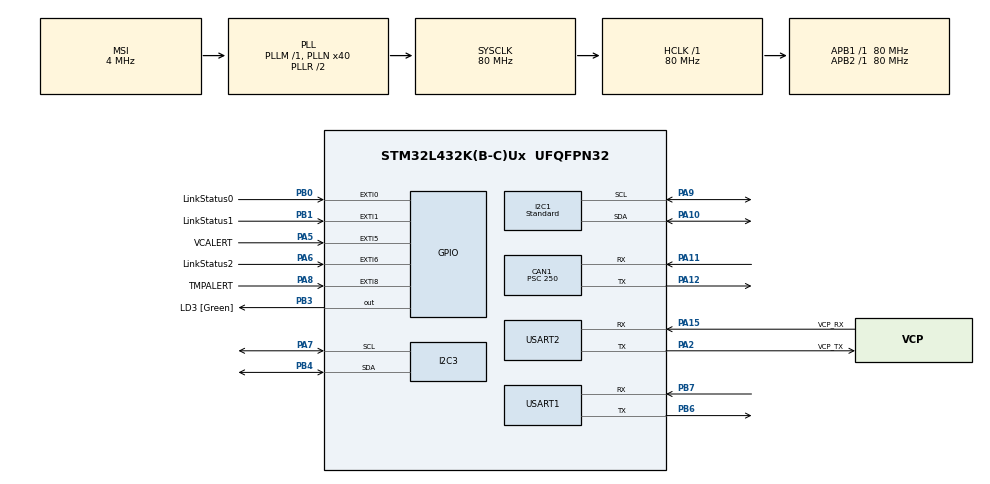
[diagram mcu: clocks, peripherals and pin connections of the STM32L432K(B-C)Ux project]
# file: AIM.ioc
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CAN1.BS1=CAN_BS1_13TQ
CAN1.BS2=CAN_BS2_2TQ
CAN1.CalculateBaudRate=20000
CAN1.CalculateTimeBit=50000
CAN1.CalculateTimeQuantum=3125.0
CAN1.Mode=CAN_MODE_NORMAL
CAN1.NART=ENABLE
CAN1.Prescaler=250
Dma.I2C1_RX.0.Direction=DMA_PERIPH_TO_MEMORY
Dma.I2C1_RX.0.Instance=DMA1_Channel7
Dma.I2C1_RX.0.MemDataAlignment=DMA_MDATAALIGN_BYTE
Dma.I2C1_RX.0.MemInc=DMA_MINC_ENABLE
Dma.I2C1_RX.0.Mode=DMA_NORMAL
Dma.I2C1_RX.0.PeriphDataAlignment=DMA_PDATAALIGN_BYTE
Dma.I2C1_RX.0.PeriphInc=DMA_PINC_DISABLE
Dma.I2C1_RX.0.Priority=DMA_PRIORITY_LOW
Dma.I2C1_TX.1.Direction=DMA_MEMORY_TO_PERIPH
Dma.I2C1_TX.1.Instance=DMA1_Channel6
Dma.I2C1_TX.1.MemDataAlignment=DMA_MDATAALIGN_BYTE
Dma.I2C1_TX.1.MemInc=DMA_MINC_ENABLE
Dma.I2C1_TX.1.Mode=DMA_NORMAL
Dma.I2C1_TX.1.PeriphDataAlignment=DMA_PDATAALIGN_BYTE
Dma.I2C1_TX.1.PeriphInc=DMA_PINC_DISABLE
Dma.I2C1_TX.1.Priority=DMA_PRIORITY_LOW
Dma.Request0=I2C1_RX
Dma.Request1=I2C1_TX
I2C1.I2C_Speed_Mode=I2C_Standard
I2C1.Timing=0x10D19CE4
I2C3.Timing=0x10D19CE4
Mcu.Family=STM32L4
Mcu.Name=STM32L432K(B-C)Ux
Mcu.Package=UFQFPN32
NVIC.CAN1_RX0_IRQn=true\:0\:0\:false\:false\:true\:true\:true\:true
NVIC.CAN1_RX1_IRQn=true\:0\:0\:false\:false\:true\:true\:true\:true
NVIC.CAN1_TX_IRQn=true\:0\:0\:false\:false\:true\:true\:true\:true
NVIC.DMA1_Channel6_IRQn=true\:0\:0\:false\:false\:true\:false\:true\:true
NVIC.DMA1_Channel7_IRQn=true\:0\:0\:false\:false\:true\:false\:true\:true
NVIC.EXTI0_IRQn=true\:0\:0\:false\:false\:true\:true\:true\:true
NVIC.EXTI1_IRQn=true\:0\:0\:false\:false\:true\:true\:true\:true
NVIC.EXTI9_5_IRQn=true\:0\:0\:false\:false\:true\:true\:true\:true
NVIC.I2C1_ER_IRQn=true\:0\:0\:false\:false\:true\:true\:true\:true
NVIC.I2C1_EV_IRQn=true\:0\:0\:false\:false\:true\:true\:true\:true
NVIC.PriorityGroup=NVIC_PRIORITYGROUP_4
NVIC.USART1_IRQn=true\:0\:0\:false\:false\:true\:true\:true\:true
PA0.GPIO_Label=MCO [High speed clock in]
PA0.Mode=HSE-External-Clock-Source-for-LittleOrca
PA0.Signal=RCC_CK_IN
PA10.GPIO_Pu=GPIO_PULLUP
PA10.Mode=I2C
PA10.Signal=I2C1_SDA
PA11.GPIO_PuPd=GPIO_PULLUP
PA11.Mode=CAN_Activate
PA11.Signal=CAN1_RX
PA12.GPIO_PuPd=GPIO_NOPULL
PA12.Mode=CAN_Activate
PA12.Signal=CAN1_TX
PA13\ (JTMS-SWDIO).GPIO_Label=SWDIO
PA13\ (JTMS-SWDIO).Mode=Serial_Wire
PA13\ (JTMS-SWDIO).Signal=SYS_JTMS-SWDIO
PA14\ (JTCK-SWCLK).GPIO_Label=SWCLK
PA14\ (JTCK-SWCLK).Mode=Serial_Wire
PA14\ (JTCK-SWCLK).Signal=SYS_JTCK-SWCLK
PA15\ (JTDI).GPIO_Label=VCP_RX
PA15\ (JTDI).Mode=Asynchronous
PA15\ (JTDI).Signal=USART2_RX
PA2.GPIO_Label=VCP_TX
PA2.Mode=Asynchronous
PA2.Signal=USART2_TX
PA5.GPIO_Label=VCALERT
PA5.Signal=GPXTI5
PA6.GPIO_Label=LinkStatus2
PA6.Signal=GPXTI6
PA7.GPIO_Pu=GPIO_PULLUP
PA7.Mode=I2C
PA7.Signal=I2C3_SCL
PA8.GPIO_Label=TMPALERT
PA8.GPIO_ModeDefaultEXTI=GPIO_MODE_IT_FALLING
PA8.GPIO_PuPd=GPIO_PULLUP
PA8.Signal=GPXTI8
PA9.GPIO_Pu=GPIO_PULLUP
PA9.Mode=I2C
PA9.Signal=I2C1_SCL
PB0.GPIO_Label=LinkStatus0
PB0.Signal=GPXTI0
PB1.GPIO_Label=LinkStatus1
PB1.GPIO_ModeDefaultEXTI=GPIO_MODE_IT_RISING_FALLING
PB1.GPIO_PuPd=GPIO_PULLDOWN
PB1.Signal=GPXTI1
PB3\ (JTDO-TRACESWO).GPIO_Label=LD3 [Green]
PB3\ (JTDO-TRACESWO).Signal=GPIO_Output
PB4\ (NJTRST).GPIO_Pu=GPIO_PULLUP
PB4\ (NJTRST).Mode=I2C
PB4\ (NJTRST).Signal=I2C3_SDA
PB6.Mode=Asynchronous
PB6.Signal=USART1_TX
PB7.Mode=Asynchronous
PB7.Signal=USART1_RX
PC14-OSC32_IN\ (PC14).Mode=LSE-External-Oscillator
PC14-OSC32_IN\ (PC14).Signal=RCC_OSC32_IN
PC15-OSC32_OUT\ (PC15).Mode=LSE-External-Oscillator
PC15-OSC32_OUT\ (PC15).Signal=RCC_OSC32_OUT
ProjectManager.HeapSize=0x200
ProjectManager.StackSize=0x400
ProjectManager.TargetToolchain=STM32CubeIDE
RCC.AHBFreq_Value=80000000
RCC.APB1Freq_Value=80000000
RCC.APB1TimFreq_Value=80000000
RCC.APB2Freq_Value=80000000
RCC.APB2TimFreq_Value=80000000
RCC.CortexFreq_Value=80000000
RCC.HCLKFreq_Value=80000000
RCC.HSE_VALUE=8000000
RCC.HSI16_VALUE=16000000
RCC.HSI48_VALUE=48000000
RCC.HSI_VALUE=16000000
RCC.MSI_VALUE=4000000
RCC.PLLMUL=RCC_PLLMUL_4
RCC.PLLN=40
RCC.SYSCLKFreq_VALUE=80000000
RCC.SYSCLKSource=RCC_SYSCLKSOURCE_PLLCLK
RCC.VCOOutputFreq_Value=160000000
USART1.VirtualMode-Asynchronous=VM_ASYNC
USART2.VirtualMode-Asynchronous=VM_ASYNC
board=NUCLEO-L432KC

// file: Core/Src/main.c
/* USER CODE BEGIN Header */
/**
  ******************************************************************************
  * @file           : main.c
  * @brief          : Main program body
  ******************************************************************************
  * @attention
  *
  * Copyright (c) 2025 STMicroelectronics.
  * All rights reserved.
  *
  * This software is licensed under terms that can be found in the LICENSE file
  * in the root directory of this software component.
  * If no LICENSE file comes with this software, it is provided AS-IS.
  *
  ******************************************************************************
  */
/* USER CODE END Header */
#include "main.h"

/* USER CODE BEGIN Includes */
#include <stdio.h>
#include <math.h>
#include "can.h"
#include "tmp117.h"
#include "ds1682.h"
#include "INA238.h"
#include "linkdetect.h"

/* USER CODE END Includes */

/* USER CODE BEGIN PD */

#define VERSION 01
#define BUILDDATE __DATE__
#define SERIALNR 1337
#define BOARD 1
#define LINK0_TIMEOUT_MS 500
#define LINK1_TIMEOUT_MS 500
#define LINK2_TIMEOUT_MS 3000

/* USER CODE END PD */

CAN_HandleTypeDef hcan1;

I2C_HandleTypeDef hi2c1;
I2C_HandleTypeDef hi2c3;
DMA_HandleTypeDef hdma_i2c1_rx;
DMA_HandleTypeDef hdma_i2c1_tx;

UART_HandleTypeDef huart1;
UART_HandleTypeDef huart2;

void SystemClock_Config(void);
static void MX_GPIO_Init(void);
static void MX_DMA_Init(void);
static void MX_USART2_UART_Init(void);
static void MX_CAN1_Init(void);
static void MX_I2C1_Init(void);
static void MX_I2C3_Init(void);
static void MX_USART1_UART_Init(void);
/* USER CODE BEGIN PFP */
void UART_MSG(void);
/* USER CODE END PFP */

/* USER CODE BEGIN 0 */
uint8_t RX_Buffer_I2C[1]; //I2C RX variable
uint8_t rx_buff_UART[10];
char buf[64];
uint8_t TempReady 		= 0;
uint8_t TmpAlertFlag 	= 0;
uint8_t InaAlertFlag 	= 0;

uint32_t pulseStart = 0;
uint32_t pulseWidth = 0;

/* Settings:--------------------------------------*/
static float AlarmLimitHighSetPoint 	= 25.0f;    //nog fixen
static float AlarmLimitLowSetPoint 		= 24.0f;

static State_t state = STATE_INIT;
static uint32_t lastTick = 0;
static uint16_t rawTemp;
static uint32_t elapsedTime;
static uint16_t rawCurrent;
static uint16_t rawVoltage;

/*************************************************************************/
/* RX gedeelte  */
/*************************************************************************/

// Ontvangst interupt voor CAN-bus berichten (gebruikt voor debug).
void HAL_CAN_RxFifo0MsgPendingCallback(CAN_HandleTypeDef *hcan)
{
    CAN_Msg_t msg;

    // 1. Haal de CAN-header en de bijbehorende data (max 8 bytes) op uit FIFO0
    //    Dit wordt aangeroepen zodra een bericht binnenkomt in FIFO0 (interrupt-driven)
    HAL_CAN_GetRxMessage(hcan, CAN_RX_FIFO0, &msg.header, msg.data);

    // 2. Plaats het bericht in de software-queue (bijv. ringbuffer of wachtrij)
    //    EnqueueCAN retourneert meestal niets, dus als de queue vol is wordt het bericht genegeerd
    EnqueueCAN(&msg.header, msg.data);
}

/**
 * @brief GPIO External Interrupt Callback.
 *
 * Deze functie handelt EXTI-interrupts af van meerdere GPIO-pinnen:
 * - LinkStatus1_Pin: Detecteert verbindingsproblemen via een puls.
 * - TMPALERT_Pin: Waarschuwt wanneer TMP117 temperatuur buiten limieten meet.
 * - VCALERT_Pin: Signaleert spannings- of stroomfouten via INA238.
 *
 * Bij een langdurige hoog-signaal op LinkStatus1 (> LINK_HIGH_TIMEOUT_MS) wordt een foutmelding gegenereerd.
 * Als de activiteit herstelt (puls korter dan timeout), wordt de fout automatisch gecleared.
 *
 * @param GPIO_Pin De GPIO-pin waarvoor de interrupt plaatsvond.
 */
void HAL_GPIO_EXTI_Callback(uint16_t GPIO_Pin){
	if (GPIO_Pin == LinkStatus0_Pin){
		GPIO_PinState state_int_link0 = HAL_GPIO_ReadPin(LinkStatus0_GPIO_Port, LinkStatus0_Pin);

	    if (state_int_link0 == GPIO_PIN_SET){
	            // Start van hoog-signaal detecteren
	            Link0HighTimestamp = HAL_GetTick();
	    }
	    else{
	            // Puls is weer laag → reset fout als het een korte puls was
	    	if (Link0ErrorFlag){
	            Link0ErrorFlag = 0;
	            Link_Recovered(LINK_STATUS0);
	     	 }
	     }
        // LED-blink bij ontvangen puls
        //HAL_GPIO_WritePin(LD3_GPIO_Port, LD3_Pin,state_int_link0); //Debug
    }
	else if (GPIO_Pin == LinkStatus1_Pin){
			GPIO_PinState state_int_link1 = HAL_GPIO_ReadPin(LinkStatus1_GPIO_Port, LinkStatus1_Pin);

		    if (state_int_link1 == GPIO_PIN_SET){
		            // Start van hoog-signaal detecteren
		            Link1HighTimestamp = HAL_GetTick();
		    }
		    else{
		            // Puls is weer laag → reset fout als het een korte puls was
		    	if (Link1ErrorFlag){
		            Link1ErrorFlag = 0;
		            Link_Recovered(LINK_STATUS0);
		     	 }
		     }
	        //HAL_GPIO_WritePin(LD3_GPIO_Port, LD3_Pin,state_int_link1); //Debug
	}
	else if (GPIO_Pin == LinkStatus2_Pin){
			GPIO_PinState state_int_link2 = HAL_GPIO_ReadPin(LinkStatus2_GPIO_Port, LinkStatus2_Pin);

		    if (state_int_link2 == GPIO_PIN_SET){
		            // Start van hoog-signaal detecteren
		            Link2HighTimestamp = HAL_GetTick();
		    }
		    else{
		            // Puls is weer laag → reset fout als het een korte puls was
		    	if (Link2ErrorFlag){
		            Link2ErrorFlag = 0;
		            Link_Recovered(LINK_STATUS0);
		     	 }
		     }
	        // LED-blink bij ontvangen puls
	        //HAL_GPIO_WritePin(LD3_GPIO_Port, LD3_Pin,state_int_link2); //Debug
	    }
    else if (GPIO_Pin == TMPALERT_Pin)  //Temperatuur alarm
    {
        state = STATE_ERROR;
    	TmpAlertFlag = 1;
    }
    else if (GPIO_Pin == VCALERT_Pin)  //Spanning/stroom alarm
    {
        state = STATE_ERROR;
    	InaAlertFlag = 1;
    }
    else
    {
        __NOP();
    }
}

void HAL_UART_RxCpltCallback(UART_HandleTypeDef *huart)
{
	HAL_UART_Receive_IT(&huart1, rx_buff_UART, 8);
}

/**
 * @brief Converteert een spanningswaarde naar een 16-bit registerwaarde op basis van opgegeven LSB.
 *
 * Deze functie rekent een spanning (of stroom) in volt om naar een digitale waarde
 * zoals verwacht door registers van de INA238 (of vergelijkbare IC's).
 * De LSB bepaalt de resolutie: hoeveel volt één bit voorstelt.
 *
 * @param voltage   De gewenste waarde in volt (bijv. 16.0 voor 16V of 0.5 voor 0.5A).
 * @param lsb       De resolutie in volt per bit (bijv. 0.003125 voor spanning, 0.0005 voor stroom).
 *
 * @return uint16_t De afgeronde digitale waarde die past bij het registerformaat van 16 bits.
 */
uint16_t ConvertVoltageToRaw(float voltage, float lsb)
{
    return (uint16_t)lroundf(voltage / lsb);
}

// init van de AIM bij eerste opstart MCU

void AIM_INIT(void)
{
	//Start bericht
	TMP117_Init(TMP117_I2C_ADDR,0x0630 ,25.0f, 24.0f);
	HAL_Delay(50);
	INA238_Init(INA238_I2C_ADDR, 0x4096,INA238_ALERT_ALL_WITH_ENABLE, 0.16384, 0.001, 3.4, 0.16384);
	HAL_Delay(50);

	TMP117_Display_Register(TMP117_I2C_ADDR, TMP117_REG_CONFIG);
	TMP117_ReadTemperatureC(TMP117_I2C_ADDR, TMP117_REG_T_HIGH_LIMIT, 1);
	TMP117_ReadTemperatureC(TMP117_I2C_ADDR, TMP117_REG_T_LOW_LIMIT, 1);
	TMP117_DebugShowLimits(TMP117_I2C_ADDR);
	// Send identificatie van het board

	Link_CheckInitialLinkStatus();

	CanSendIdent(BOARD, 1, VERSION, SERIALNR, BUILDDATE);

	char buf[80];
	int len = snprintf(buf, sizeof(buf),"*******************************AIM gestart!*******************************\n\r");
  	HAL_UART_Transmit(&huart2, (uint8_t*)buf, len, HAL_MAX_DELAY);
}

/* USER CODE END 0 */

int main(void)
{

  /* MCU Configuration--------------------------------------------------------*/

  /* Reset of all peripherals, Initializes the Flash interface and the Systick. */
  HAL_Init();

  /* Configure the system clock */
  SystemClock_Config();

  /* Initialize all configured peripherals */
  MX_GPIO_Init();
  MX_DMA_Init();
  MX_USART2_UART_Init();
  MX_CAN1_Init();
  MX_I2C1_Init();
  MX_I2C3_Init();
  MX_USART1_UART_Init();
  /* USER CODE BEGIN 2 */
/*----------------------------------------------------------------------------*/
/*— CAN-bus start en activatie van RX notificatie  —*/
/*----------------------------------------------------------------------------*/
  HAL_CAN_Start(&hcan1);                   // Start van de CAN-Bus HAL

  HAL_CAN_ActivateNotification(&hcan1, CAN_IT_RX_FIFO0_MSG_PENDING);   // Start van Notificatie bij een ontvangen can signaal.
/*----------------------------------------------------------------------------*/
/*----------------------------------------------------------------------------*/
/*— UART start en activatie van RX notificatie  —*/
/*----------------------------------------------------------------------------*/

  HAL_UART_Receive_IT(&huart1, rx_buff_UART, 10);

  /* USER CODE END 2 */

  /* Infinite loop */
  /* USER CODE BEGIN WHILE */

/*----------------------------------------------------------------------------*/
/*— Start up van de AIM							 							 —*/
/*----------------------------------------------------------------------------*/

  state = STATE_INIT;
  while (1)
  {
    /* USER CODE END WHILE */

    /* USER CODE BEGIN 3 */
	  switch (state)
	          {
	              case STATE_INIT:
	                  AIM_INIT();           // jouw init-flow
	                  Link_CheckInitialLinkStatus();
	                  HAL_Delay(200);

	                  state = STATE_READ;

	              break;

	              case STATE_READ:
	                  // 1) Lees temperature en runtime:
	                  rawTemp     = TMP117_ReadRegister(TMP117_I2C_ADDR, TMP117_REG_TEMP_RESULT);
	                  TMP117_Display_Register(TMP117_I2C_ADDR,TMP117_REG_CONFIG);
	                  elapsedTime = DS1682_ReadElapsedTime(DS1682_I2C_ADDR);
	                  rawVoltage  = INA238_ReadRegister(INA238_I2C_ADDR, INA238_REG_VBUS);
	                  rawCurrent  = INA238_ReadCurrent(INA238_I2C_ADDR, INA238_REG_CURRENT, 0);

	                  if(CheckLinkTimeout(LINK0_TIMEOUT_MS, LINK1_TIMEOUT_MS, LINK2_TIMEOUT_MS)){
	                	  state = STATE_ERROR;
	                  }

	                  ProcessCANMessages();

	                  state = STATE_TRANSMIT;

	              break;

	              case STATE_TRANSMIT:
	                  // 2) Verstuur via CAN-BUS:
	                  CanSendTemperature(BOARD, 1, rawTemp);
	                  CanSendUptime   (BOARD, 1, elapsedTime, DS1682_ReadEventCounter(DS1682_I2C_ADDR));
	                  CanSendCurrent  (BOARD, 1, rawCurrent, HAL_GetTick());
	            	  CanSendVoltage(BOARD, 1,	INA238_ReadVoltage(INA238_I2C_ADDR,INA238_REG_VBUS,0),DS1682_ReadElapsedTime(DS1682_I2C_ADDR));

	            	  state = STATE_DISPLAY;

	              break;

	              case STATE_DISPLAY:
	            	  //4) geeft waarde weer op display
	            	  DS1682_SecondsToHM_Display(DS1682_I2C_ADDR,1);
	            	  INA238_ReadVoltage(INA238_I2C_ADDR,INA238_REG_VBUS,1);
	            	  INA238_ReadCurrent(INA238_I2C_ADDR, INA238_REG_CURRENT, 1);
	            	  INA238_ReadTemp(INA238_I2C_ADDR, 1);
	            	  TMP117_ReadTemperatureC(TMP117_I2C_ADDR, TMP117_REG_TEMP_RESULT,1);

	            	  lastTick = HAL_GetTick();  // tijdstip van ingang in wachtperiode
	            	  state = STATE_WAIT;

	              break;

	              case STATE_WAIT:

	            	  if ((HAL_GetTick() - lastTick) >= 1000) {
	            		   state = STATE_READ;
	            	  }
	              break;

	              case STATE_ERROR:
	            	  if (TmpAlertFlag) {
	            		  if(TMP117_ReadRegister(TMP117_I2C_ADDR, TMP117_REG_CONFIG) & ((1 << 15) | (1 << 14))){ // controleer of een van de twee alerts hoog zijn.

	            				 TMP117_Alert(TMP117_I2C_ADDR);
	            		  }
	            			 TmpAlertFlag = 0;
	            	  }
	            	  if(InaAlertFlag){
	            		  INA238_Alert(INA238_I2C_ADDR);
	            		  InaAlertFlag = 0;
	            		  }
	            	 if(Link0ErrorFlag){
	            		 Link_Error(LINK_STATUS0);
	            	 }
	            	 if(Link1ErrorFlag){
	            		 Link_Error(LINK_STATUS1);
	            	 }
	            	 if(Link2ErrorFlag){
	            		 Link_Error(LINK_STATUS2);
	            	 }
	            	state = STATE_READ;
	            	  // 5) Handel Error binnen syteem af.
	               break;
	          }

/*----------------------------------------------------------------------------*/
 /*— Interupts Handeling  —*/
 /*----------------------------------------------------------------------------*/
//Handeling Temp alarm via interrupt PA8

/*
		    uint16_t status = INA238_ReadRegister(INA238_I2C_ADDR, INA238_REG_DIAG_ALERT);

		    // 2) Geen flags? Niets te doen.
		    if (status == 0)
		        return;

		    // 3) Controleer per bit en bel handler / log
		    if (status & INA238_ALERT_MEM_ERROR) {
		        // geheugen‐checksum fout
		        InaMemError();   // bijvoorbeeld: LED rood zetten, UART-log, enz.
		    }
		    if (status & INA238_ALERT_MATH_OVERFLOW) {
		        // arithmetic overflow: current/power ongeldig
		        InaMathOverflow();
		    }
		    if (status & INA238_ALERT_TEMP_OVER) {
		        // temperatuurdrempel overschreden
		        InaTempOver();
		    }
		    if (status & INA238_ALERT_SHUNT_OVER) {
		        // shuntspanning te hoog
		        InaShuntOver();
		    }
		    if (status & INA238_ALERT_SHUNT_UNDER) {
		        // shuntspanning te laag
		        InaShuntUnder();
		    }
		    if (status & INA238_ALERT_BUS_OVERVOLT) {
		        // bussenspanning te hoog
		        InaBusOver();
		    }
		    if (status & INA238_ALERT_BUS_UNDERVOLT) {
		        // bussenspanning te laag
		        InaBusUnder();
		    }
		    if (status & INA238_ALERT_POWER_OVER) {
		        // vermogensdrempel overschreden
		        InaPowerOver();
		    }
		    if (status & INA238_ALERT_CONVERSION_DONE) {
		        // conversie voltooid
		        InaConversionDone();
		    }
		}
*/
/*
		  uint16_t rawvoltage = INA238_ReadVoltage(INA238_I2C_ADDR,INA238_REG_VBUS,0);
		  uint16_t rawcurrent = INA238_ReadCurrent(INA238_I2C_ADDR, INA238_REG_CURRENT, 0);

		  int16_t signed_val_V = (int16_t)rawvoltage;
		  float voltage = signed_val * 3.125e-3f;  // V

		  int16_t signed_val_I = (int16_t)rawcurrent;
		  float current = signed_val * 3.125e-3f;  // V
		  char buf[80];
		  int len = snprintf(buf, sizeof(buf),
				  "Alarm! Spanning=%.2f, Stroom=%.2f A  limieten: Spanning low=%.2f, high=%.2f stroom low=%.2f, high=%.2f\r\n",
						  voltage, current, AlarmLimitLowSetPoint, AlarmLimitHighSetPoint)
		  // Lees
	  }

	 HAL_Delay(500);

	 uint16_t rawvolt INA238_ReadRegister(INA238_I2C_ADDR, INA238_REG_VBUS);
	 			uint16_t rawvoltol INA238_ReadRegister(INA238_I2C_ADDR, INA238_REG_BOLV,0);

	 			int16_t signed_val = (int16_t)rawvolt;
	 			float volt = signed_val * 3.125e-3f;

	 			int16_t signed_val_OL = (int16_t)rawvoltul;
	 			float volt_OL = signed_val_OL * 3.125e-3f;

	 			char buf[80];
	 			nt len = snprintf(buf, sizeof(buf),
	 						  "Alarm! High voltage! Voltage=%.2fV  limiet: high=%.2f\r\n",
	 						  volt, volt_OL);
	 			HAL_UART_Transmit(&huart2, (uint8_t*)buf, len, HAL_MAX_DELAY);
	 			InaAlertFlag = 0;
*/

  }// end while(1)

  /*******************************************************************************************************************************/

  /* USER CODE END 3 */
}

void SystemClock_Config(void)
{
  RCC_OscInitTypeDef RCC_OscInitStruct = {0};
  RCC_ClkInitTypeDef RCC_ClkInitStruct = {0};

  /** Configure the main internal regulator output voltage
  */
  if (HAL_PWREx_ControlVoltageScaling(PWR_REGULATOR_VOLTAGE_SCALE1) != HAL_OK)
  {
    Error_Handler();
  }

  /** Configure LSE Drive Capability
  */
  HAL_PWR_EnableBkUpAccess();
  __HAL_RCC_LSEDRIVE_CONFIG(RCC_LSEDRIVE_LOW);

  /** Initializes the RCC Oscillators according to the specified parameters
  * in the RCC_OscInitTypeDef structure.
  */
  RCC_OscInitStruct.OscillatorType = RCC_OSCILLATORTYPE_LSE|RCC_OSCILLATORTYPE_MSI;
  RCC_OscInitStruct.LSEState = RCC_LSE_ON;
  RCC_OscInitStruct.MSIState = RCC_MSI_ON;
  RCC_OscInitStruct.MSICalibrationValue = 0;
  RCC_OscInitStruct.MSIClockRange = RCC_MSIRANGE_6;
  RCC_OscInitStruct.PLL.PLLState = RCC_PLL_ON;
  RCC_OscInitStruct.PLL.PLLSource = RCC_PLLSOURCE_MSI;
  RCC_OscInitStruct.PLL.PLLM = 1;
  RCC_OscInitStruct.PLL.PLLN = 40;
  RCC_OscInitStruct.PLL.PLLP = RCC_PLLP_DIV7;
  RCC_OscInitStruct.PLL.PLLQ = RCC_PLLQ_DIV2;
  RCC_OscInitStruct.PLL.PLLR = RCC_PLLR_DIV2;
  if (HAL_RCC_OscConfig(&RCC_OscInitStruct) != HAL_OK)
  {
    Error_Handler();
  }

  /** Initializes the CPU, AHB and APB buses clocks
  */
  RCC_ClkInitStruct.ClockType = RCC_CLOCKTYPE_HCLK|RCC_CLOCKTYPE_SYSCLK
                              |RCC_CLOCKTYPE_PCLK1|RCC_CLOCKTYPE_PCLK2;
  RCC_ClkInitStruct.SYSCLKSource = RCC_SYSCLKSOURCE_PLLCLK;
  RCC_ClkInitStruct.AHBCLKDivider = RCC_SYSCLK_DIV1;
  RCC_ClkInitStruct.APB1CLKDivider = RCC_HCLK_DIV1;
  RCC_ClkInitStruct.APB2CLKDivider = RCC_HCLK_DIV1;

  if (HAL_RCC_ClockConfig(&RCC_ClkInitStruct, FLASH_LATENCY_4) != HAL_OK)
  {
    Error_Handler();
  }

  /** Enable MSI Auto calibration
  */
  HAL_RCCEx_EnableMSIPLLMode();
}

static void MX_CAN1_Init(void)
{

  hcan1.Instance = CAN1;
  hcan1.Init.Prescaler = 250;
  hcan1.Init.Mode = CAN_MODE_NORMAL;
  hcan1.Init.SyncJumpWidth = CAN_SJW_1TQ;
  hcan1.Init.TimeSeg1 = CAN_BS1_13TQ;
  hcan1.Init.TimeSeg2 = CAN_BS2_2TQ;
  hcan1.Init.TimeTriggeredMode = DISABLE;
  hcan1.Init.AutoBusOff = DISABLE;
  hcan1.Init.AutoWakeUp = DISABLE;
  hcan1.Init.AutoRetransmission = ENABLE;
  hcan1.Init.ReceiveFifoLocked = DISABLE;
  hcan1.Init.TransmitFifoPriority = DISABLE;
  if (HAL_CAN_Init(&hcan1) != HAL_OK)
  {
    Error_Handler();
  }
  /* USER CODE BEGIN CAN1_Init 2 */

 CAN_FilterTypeDef canfilterconfig;

 canfilterconfig.FilterActivation = CAN_FILTER_ENABLE;
 canfilterconfig.FilterBank = 10;  // anything between 0 to SlaveStartFilterBank
 canfilterconfig.FilterFIFOAssignment = CAN_RX_FIFO0;
 canfilterconfig.FilterIdHigh = 0;
 canfilterconfig.FilterIdLow = 0x0000;
 canfilterconfig.FilterMaskIdHigh = 0;
 canfilterconfig.FilterMaskIdLow = 0x0000;
 canfilterconfig.FilterMode = CAN_FILTERMODE_IDMASK;
 canfilterconfig.FilterScale = CAN_FILTERSCALE_32BIT;
 canfilterconfig.SlaveStartFilterBank = 00;  // 13 to 27 are assigned to slave CAN (CAN 2) OR 0 to 12 are assgned to CAN1

 HAL_CAN_ConfigFilter(&hcan1, &canfilterconfig);

  HAL_StatusTypeDef status;
   status = HAL_CAN_Start(&hcan1);
   if (status != HAL_OK) {
        uint32_t err = HAL_CAN_GetError(&hcan1);
        char buf[80];
        int len = snprintf(buf, sizeof(buf),
            "Fout: HAL_CAN_Start() mislukt, HAL-status = %lu, CAN_Error = 0x%08lX\r\n",
            (unsigned long)status,
            (unsigned long)err);
        HAL_UART_Transmit(&huart2, (uint8_t*)buf, len, HAL_MAX_DELAY);
        Error_Handler();
    }

   status = HAL_CAN_ActivateNotification(&hcan1, CAN_IT_RX_FIFO0_MSG_PENDING);
   if (status != HAL_OK) {
       uint32_t err = HAL_CAN_GetError(&hcan1);
       char buf[80];
       int len = snprintf(buf, sizeof(buf),
           "Fout: HAL_CAN_ActivateNotification() mislukt, HAL-status = %lu, CAN_Error = 0x%08luX\r\n",
           (unsigned long)status,
           (unsigned long)err);
       HAL_UART_Transmit(&huart2, (uint8_t*)buf, len, HAL_MAX_DELAY);
       Error_Handler();
   }
  /* USER CODE END CAN1_Init 2 */

}

static void MX_I2C1_Init(void)
{

  hi2c1.Instance = I2C1;
  hi2c1.Init.Timing = 0x10D19CE4;
  hi2c1.Init.OwnAddress1 = 0;
  hi2c1.Init.AddressingMode = I2C_ADDRESSINGMODE_7BIT;
  hi2c1.Init.DualAddressMode = I2C_DUALADDRESS_DISABLE;
  hi2c1.Init.OwnAddress2 = 0;
  hi2c1.Init.OwnAddress2Masks = I2C_OA2_NOMASK;
  hi2c1.Init.GeneralCallMode = I2C_GENERALCALL_DISABLE;
  hi2c1.Init.NoStretchMode = I2C_NOSTRETCH_DISABLE;
  if (HAL_I2C_Init(&hi2c1) != HAL_OK)
  {
    Error_Handler();
  }

  /** Configure Analogue filter
  */
  if (HAL_I2CEx_ConfigAnalogFilter(&hi2c1, I2C_ANALOGFILTER_ENABLE) != HAL_OK)
  {
    Error_Handler();
  }

  /** Configure Digital filter
  */
  if (HAL_I2CEx_ConfigDigitalFilter(&hi2c1, 0) != HAL_OK)
  {
    Error_Handler();
  }

}

static void MX_I2C3_Init(void)
{

  hi2c3.Instance = I2C3;
  hi2c3.Init.Timing = 0x10D19CE4;
  hi2c3.Init.OwnAddress1 = 0;
  hi2c3.Init.AddressingMode = I2C_ADDRESSINGMODE_7BIT;
  hi2c3.Init.DualAddressMode = I2C_DUALADDRESS_DISABLE;
  hi2c3.Init.OwnAddress2 = 0;
  hi2c3.Init.OwnAddress2Masks = I2C_OA2_NOMASK;
  hi2c3.Init.GeneralCallMode = I2C_GENERALCALL_DISABLE;
  hi2c3.Init.NoStretchMode = I2C_NOSTRETCH_DISABLE;
  if (HAL_I2C_Init(&hi2c3) != HAL_OK)
  {
    Error_Handler();
  }

  /** Configure Analogue filter
  */
  if (HAL_I2CEx_ConfigAnalogFilter(&hi2c3, I2C_ANALOGFILTER_ENABLE) != HAL_OK)
  {
    Error_Handler();
  }

  /** Configure Digital filter
  */
  if (HAL_I2CEx_ConfigDigitalFilter(&hi2c3, 0) != HAL_OK)
  {
    Error_Handler();
  }

}

static void MX_USART1_UART_Init(void)
{

  huart1.Instance = USART1;
  huart1.Init.BaudRate = 115200;
  huart1.Init.WordLength = UART_WORDLENGTH_8B;
  huart1.Init.StopBits = UART_STOPBITS_1;
  huart1.Init.Parity = UART_PARITY_NONE;
  huart1.Init.Mode = UART_MODE_TX_RX;
  huart1.Init.HwFlowCtl = UART_HWCONTROL_NONE;
  huart1.Init.OverSampling = UART_OVERSAMPLING_16;
  huart1.Init.OneBitSampling = UART_ONE_BIT_SAMPLE_DISABLE;
  huart1.AdvancedInit.AdvFeatureInit = UART_ADVFEATURE_NO_INIT;
  if (HAL_UART_Init(&huart1) != HAL_OK)
  {
    Error_Handler();
  }

}

static void MX_USART2_UART_Init(void)
{

  huart2.Instance = USART2;
  huart2.Init.BaudRate = 115200;
  huart2.Init.WordLength = UART_WORDLENGTH_8B;
  huart2.Init.StopBits = UART_STOPBITS_1;
  huart2.Init.Parity = UART_PARITY_NONE;
  huart2.Init.Mode = UART_MODE_TX_RX;
  huart2.Init.HwFlowCtl = UART_HWCONTROL_NONE;
  huart2.Init.OverSampling = UART_OVERSAMPLING_16;
  huart2.Init.OneBitSampling = UART_ONE_BIT_SAMPLE_DISABLE;
  huart2.AdvancedInit.AdvFeatureInit = UART_ADVFEATURE_NO_INIT;
  if (HAL_UART_Init(&huart2) != HAL_OK)
  {
    Error_Handler();
  }

}

static void MX_DMA_Init(void)
{

  /* DMA controller clock enable */
  __HAL_RCC_DMA1_CLK_ENABLE();

  /* DMA interrupt init */
  /* DMA1_Channel6_IRQn interrupt configuration */
  HAL_NVIC_SetPriority(DMA1_Channel6_IRQn, 0, 0);
  HAL_NVIC_EnableIRQ(DMA1_Channel6_IRQn);
  /* DMA1_Channel7_IRQn interrupt configuration */
  HAL_NVIC_SetPriority(DMA1_Channel7_IRQn, 0, 0);
  HAL_NVIC_EnableIRQ(DMA1_Channel7_IRQn);

}

static void MX_GPIO_Init(void)
{
  GPIO_InitTypeDef GPIO_InitStruct = {0};

  /* GPIO Ports Clock Enable */
  __HAL_RCC_GPIOC_CLK_ENABLE();
  __HAL_RCC_GPIOA_CLK_ENABLE();
  __HAL_RCC_GPIOB_CLK_ENABLE();

  /*Configure GPIO pin Output Level */
  HAL_GPIO_WritePin(LD3_GPIO_Port, LD3_Pin, GPIO_PIN_RESET);

  /*Configure GPIO pins : VCALERT_Pin LinkStatus2_Pin */
  GPIO_InitStruct.Pin = VCALERT_Pin|LinkStatus2_Pin;
  GPIO_InitStruct.Mode = GPIO_MODE_IT_RISING;
  GPIO_InitStruct.Pull = GPIO_NOPULL;
  HAL_GPIO_Init(GPIOA, &GPIO_InitStruct);

  /*Configure GPIO pin : LinkStatus0_Pin */
  GPIO_InitStruct.Pin = LinkStatus0_Pin;
  GPIO_InitStruct.Mode = GPIO_MODE_IT_RISING;
  GPIO_InitStruct.Pull = GPIO_NOPULL;
  HAL_GPIO_Init(LinkStatus0_GPIO_Port, &GPIO_InitStruct);

  /*Configure GPIO pin : LinkStatus1_Pin */
  GPIO_InitStruct.Pin = LinkStatus1_Pin;
  GPIO_InitStruct.Mode = GPIO_MODE_IT_RISING_FALLING;
  GPIO_InitStruct.Pull = GPIO_PULLDOWN;
  HAL_GPIO_Init(LinkStatus1_GPIO_Port, &GPIO_InitStruct);

  /*Configure GPIO pin : TMPALERT_Pin */
  GPIO_InitStruct.Pin = TMPALERT_Pin;
  GPIO_InitStruct.Mode = GPIO_MODE_IT_FALLING;
  GPIO_InitStruct.Pull = GPIO_PULLUP;
  HAL_GPIO_Init(TMPALERT_GPIO_Port, &GPIO_InitStruct);

  /*Configure GPIO pin : LD3_Pin */
  GPIO_InitStruct.Pin = LD3_Pin;
  GPIO_InitStruct.Mode = GPIO_MODE_OUTPUT_PP;
  GPIO_InitStruct.Pull = GPIO_NOPULL;
  GPIO_InitStruct.Speed = GPIO_SPEED_FREQ_LOW;
  HAL_GPIO_Init(LD3_GPIO_Port, &GPIO_InitStruct);

  /* EXTI interrupt init*/
  HAL_NVIC_SetPriority(EXTI0_IRQn, 0, 0);
  HAL_NVIC_EnableIRQ(EXTI0_IRQn);

  HAL_NVIC_SetPriority(EXTI1_IRQn, 0, 0);
  HAL_NVIC_EnableIRQ(EXTI1_IRQn);

  HAL_NVIC_SetPriority(EXTI9_5_IRQn, 0, 0);
  HAL_NVIC_EnableIRQ(EXTI9_5_IRQn);

}

void Error_Handler(void)
{
  /* USER CODE BEGIN Error_Handler_Debug */

  /* User can add his own implementation to report the HAL error return state */
  __disable_irq();
  while (1)
  {
	  HAL_GPIO_TogglePin(LD3_GPIO_Port, LD3_Pin);
		 HAL_Delay(75);
  }
  /* USER CODE END Error_Handler_Debug */
}
